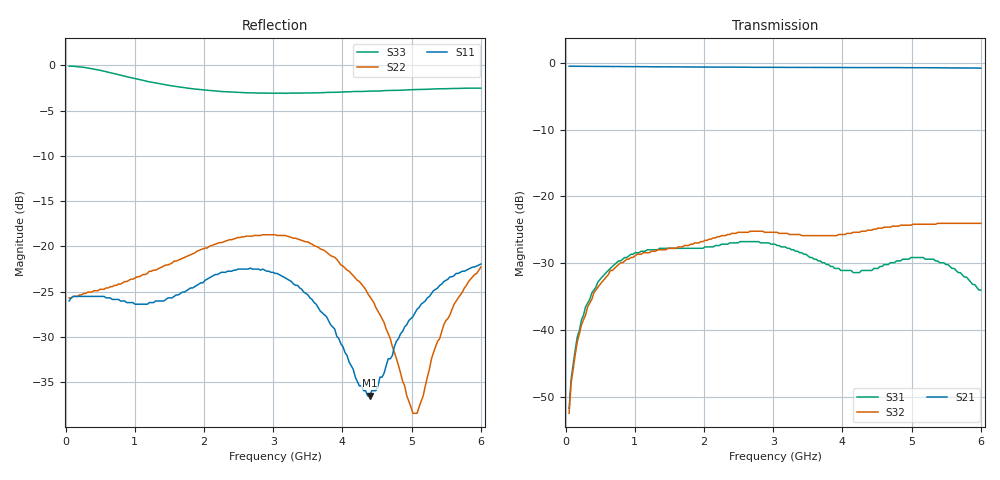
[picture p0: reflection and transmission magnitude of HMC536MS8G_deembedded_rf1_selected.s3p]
!Hittite Microwave Corporation
!20 Alpha Road
!Chelmsford, MA 01824
!Tel: 978-250-3343
!Fax: 978-250-3373
!Device: HMC536MS8G, DC-6 GHz, GaAs MMIC Positive Control T/R Switch in 8 lead MSOP8G SMT package with exposed ground paddle
!Misc: Vctl = 5V, Port1 = RFC, Port2 = RF1, Port3 = RF2, RF1 ON, Room
# MHZ S MA R 50
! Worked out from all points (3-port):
!   201 points, 50 MHz to 6 GHz, reference 50 ohm
!   strongest paths, dB at 50 MHz, 1.538 GHz, 3.025 GHz, 4.513 GHz, 6 GHz:
!     S21: -0.5, -0.6, -0.7, -0.8, -0.8
!     S32: -52.4, -27.7, -25.4, -24.7, -24.0
!     S31: -51.7, -27.7, -27.1, -30.8, -34.0
!   lowest |S11| = -36.5 dB at 4.394 GHz (marker M1), VSWR 1.03, Z = 49.3 - j1.29 ohm
!   |S11| at or under -10 dB: start of sweep to end of sweep
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50  0.05 -1.2  0.94 -1.9  0.002654 93.4
    0.94 -1.9  0.052 -2.0  0.002384 94.0
    0.002608 93.4  0.002401 94.5  0.988 -6.5
228.5  0.053 -3.4  0.938 -8.0  0.012 71.6
       0.938 -8.0  0.054 -3.2  0.011 74.7
       0.012 71.7  0.011 74.7  0.977 -28.7
645  0.052 -12.1  0.934 -22.0  0.029 38.1
     0.935 -22.0  0.06 -12.7  0.028 45.7
     0.029 38.1  0.028 45.7  0.909 -76.5
1478  0.052 -5.5  0.929 -49.9  0.041 -12.6
      0.929 -49.9  0.079 -21.5  0.041 5.2
      0.041 -12.6  0.041 5.2  0.775 -150.9
2102.75  0.068 -3.0  0.925 -70.7  0.042 -34.4
         0.925 -70.7  0.101 -29.5  0.048 -11.9
         0.042 -34.4  0.048 -11.9  0.725 164.9
3025  0.071 -22.6  0.921 -101.5  0.044 -76.0
      0.922 -101.5  0.116 -53.9  0.054 -46.7
      0.044 -76.0  0.054 -46.7  0.701 111.1
4393.5  0.015 -119.4  0.917 -147.9  0.028 -99.3
        0.917 -147.9  0.053 -113.3  0.056 -73.7
        0.028 -99.2  0.056 -73.7  0.719 48.6
5077.75  0.045 155.9  0.916 -171.7  0.035 -119.2
         0.917 -171.7  0.012 133.9  0.062 -92.5
         0.035 -119.2  0.062 -92.5  0.734 20.9
5464.5  0.064 133.0  0.913 174.5  0.032 -137.9
        0.914 174.5  0.037 72.3  0.063 -102.8
        0.032 -137.8  0.063 -102.8  0.742 6.9
6000  0.08 91.6  0.908 155.2  0.02 -148.0
      0.909 155.2  0.077 63.1  0.063 -113.7
      0.02 -148.2  0.063 -113.7  0.747 -10.9
